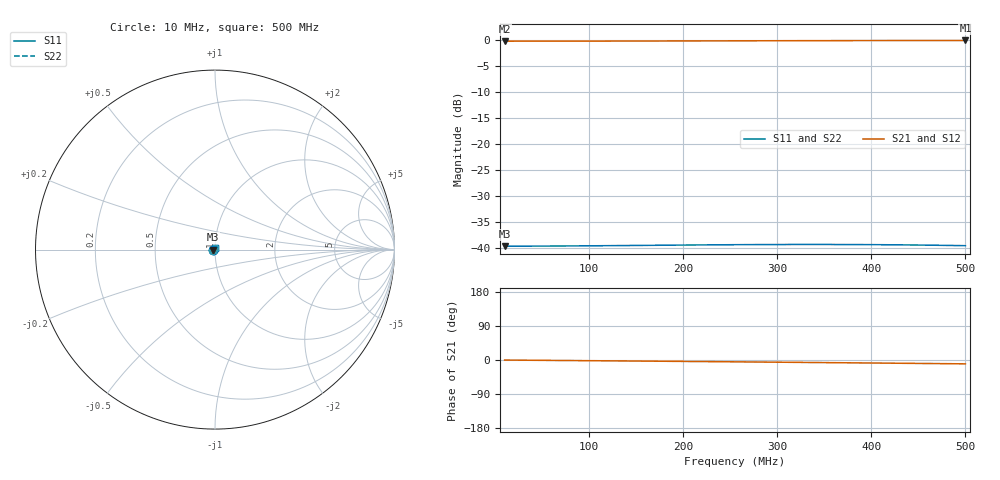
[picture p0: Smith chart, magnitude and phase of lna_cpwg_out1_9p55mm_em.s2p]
! Created with skrf 2.1.0 (http://scikit-rf.org).
# Hz S RI R 50.0
!freq ReS11 ImS11 ReS21 ImS21 ReS12 ImS12 ReS22 ImS22
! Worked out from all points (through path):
!   101 points, 10 MHz to 500 MHz, reference 50 ohm
!   highest |S21| = -0.02 dB at 500 MHz (marker M1); lowest = -0.2 dB at 10 MHz (marker M2)
!   group delay of S21, straight-line fit = 56.7 ps
!   lowest |S11| = -39.6 dB at 10 MHz (marker M3), VSWR 1.02, Z = 49 + j0.0465 ohm
!   |S11| at or under -10 dB: start of sweep to end of sweep
!   |S22| runs from -39.6 to -39.3 dB; largest |S21 - S12| = 3.4e-16
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1e7  -0.0104 0.000475  0.9819 -0.00306  0.9819 -0.00306  -0.0104 0.000475
2.96e7  -0.0103 0.0014  0.982 -0.00907  0.982 -0.00907  -0.0103 0.0014
4.92e7  -0.0102 0.00231  0.9821 -0.0151  0.9821 -0.0151  -0.0102 0.00231
6.88e7  -0.00997 0.00319  0.9824 -0.0212  0.9824 -0.0212  -0.00997 0.00319
9.33e7  -0.00961 0.00424  0.9828 -0.0289  0.9828 -0.0289  -0.00961 0.00424
1.129e8  -0.00925 0.00503  0.9832 -0.0351  0.9832 -0.0351  -0.00925 0.00503
1.374e8  -0.00874 0.00595  0.9837 -0.0431  0.9837 -0.0431  -0.00874 0.00595
1.766e8  -0.00781 0.00723  0.9846 -0.0561  0.9846 -0.0561  -0.00781 0.00723
2.207e8  -0.00668 0.00839  0.9856 -0.0713  0.9856 -0.0713  -0.00668 0.00839
2.55e8  -0.00578 0.00909  0.9862 -0.0834  0.9862 -0.0834  -0.00578 0.00909
2.795e8  -0.00515 0.00949  0.9865 -0.0923  0.9865 -0.0923  -0.00515 0.00949
2.991e8  -0.00466 0.00976  0.9866 -0.0994  0.9866 -0.0994  -0.00466 0.00976
3.187e8  -0.00418 0.00998  0.9866 -0.1067  0.9866 -0.1067  -0.00418 0.00998
3.383e8  -0.00373 0.0102  0.9866 -0.114  0.9866 -0.114  -0.00373 0.0102
3.628e8  -0.00319 0.0103  0.9864 -0.1232  0.9864 -0.1232  -0.00319 0.0103
3.824e8  -0.00279 0.0104  0.9861 -0.1306  0.9861 -0.1306  -0.00279 0.0104
4.02e8  -0.00242 0.0105  0.9857 -0.1381  0.9857 -0.1381  -0.00242 0.0105
4.216e8  -0.00207 0.0106  0.9853 -0.1456  0.9853 -0.1456  -0.00207 0.0106
4.412e8  -0.00174 0.0106  0.9847 -0.1531  0.9847 -0.1531  -0.00174 0.0106
4.608e8  -0.00145 0.0106  0.984 -0.1606  0.984 -0.1606  -0.00145 0.0106
4.804e8  -0.00118 0.0105  0.9831 -0.1681  0.9831 -0.1681  -0.00118 0.0105
5e8  -0.000934 0.0105  0.9822 -0.1757  0.9822 -0.1757  -0.000934 0.0105
